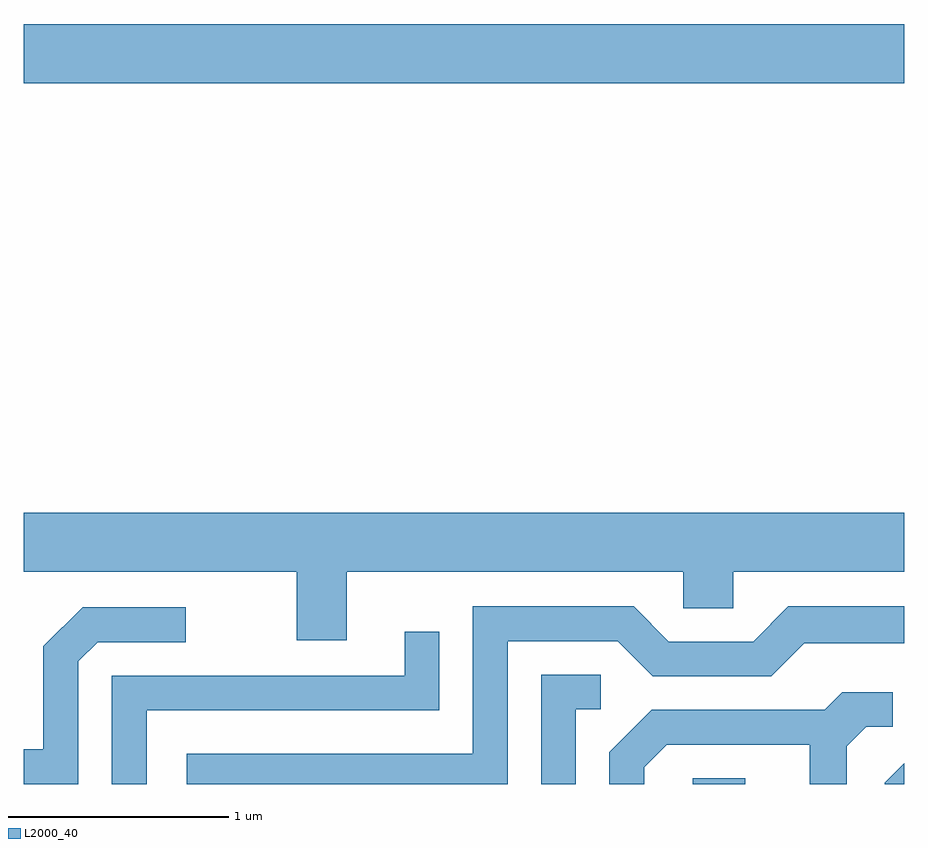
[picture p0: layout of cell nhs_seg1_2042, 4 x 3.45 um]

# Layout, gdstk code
import gdstk
lib = gdstk.Library(unit=1e-6, precision=1e-09)
def R(c, l, rs):  # rectangles x0, y0, x1, y1
    for r in rs: c.add(gdstk.rectangle(r[:2], r[2:], *l))
def P(c, l, *ps):  # polygons
    for p in ps: c.add(gdstk.Polygon(p, *l))
L2000_40 = (2000, 40)

nhs_seg1_2042 = lib.new_cell('nhs_seg1_2042')
R(nhs_seg1_2042, L2000_40, [(250.651,909.712,250.889,909.739), (247.611,912.896,251.611,913.164)])
P(nhs_seg1_2042, L2000_40, [(249.079,910.676),(250.606,910.676),(250.606,910.511),(250.834,910.511),(250.834,910.676),(251.611,910.676),(251.611,910.944),(247.611,910.944),(247.611,910.676),(248.851,910.676),(248.851,910.366),(249.079,910.366)],
  [(249.809,910.361),(250.309,910.361),(250.469,910.201),(251.007,910.201),(251.157,910.351),(251.611,910.351),(251.611,910.519),(251.084,910.519),(250.924,910.359),(250.542,910.359),(250.382,910.519),(249.651,910.519),(249.651,909.849),(248.351,909.849),(248.351,909.712),(249.809,909.712)],
  [(247.859,910.269),(247.947,910.356),(248.348,910.356),(248.348,910.514),(247.879,910.514),(247.701,910.337),(247.701,909.869),(247.611,909.869),(247.611,909.712),(247.859,909.712)],
  [(248.169,910.046),(249.499,910.046),(249.499,910.403),(249.341,910.403),(249.341,910.204),(248.011,910.204),(248.011,909.712),(248.169,909.712)],
  [(250.119,910.051),(250.233,910.051),(250.233,910.209),(249.961,910.209),(249.961,909.712),(250.119,909.712)],
  [(250.429,909.789),(250.532,909.891),(251.181,909.891),(251.181,909.712),(251.349,909.712),(251.349,909.884),(251.437,909.971),(251.558,909.971),(251.558,910.129),(251.329,910.129),(251.249,910.049),(250.464,910.049),(250.271,909.857),(250.271,909.712),(250.429,909.712)],
  [(251.611,909.807),(251.521,909.717),(251.521,909.712),(251.611,909.712)])

lib.write_gds('nhs_seg1_2042.gds')
